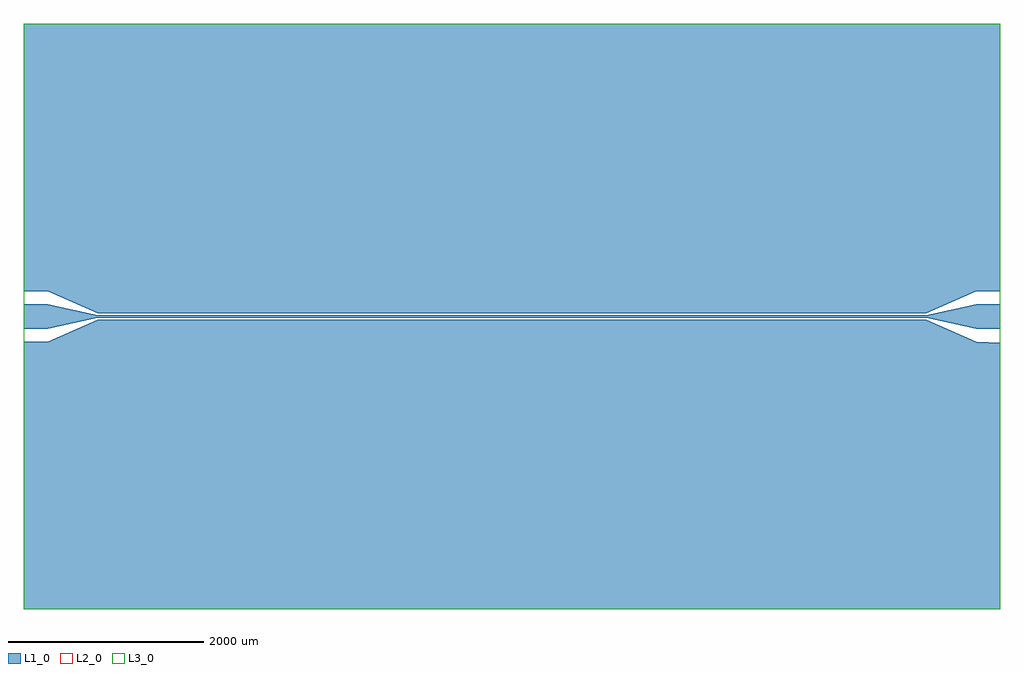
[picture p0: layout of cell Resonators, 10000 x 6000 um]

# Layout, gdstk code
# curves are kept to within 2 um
import gdstk
lib = gdstk.Library(unit=1e-6, precision=1e-06)
def R(c, l, rs):  # rectangles x0, y0, x1, y1
    for r in rs: c.add(gdstk.rectangle(r[:2], r[2:], *l))
def P(c, l, *ps):  # polygons
    for p in ps: c.add(gdstk.Polygon(p, *l))
L1_0 = (1, 0)
L2_0 = (2, 0)
L3_0 = (3, 0)

resonators = lib.new_cell('Resonators')
P(resonators, L1_0, [(2447,37),(2437,41),(2429,55),(2433,71),(2447,79),(2855,79),(2881,83),(2905,91),(2927,104),(2954,131),(2972,165),(2979,203),(2979,1914),(2972,1952),(2946,1995),(2927,2012),(2905,2025),(2869,2036),(2831,2036),(2806,2030),(2784,2019),(2754,1995),(2728,1952),(2721,1914),(2719,869),(2711,837),(2697,806),(2677,780),(2639,748),(2608,734),(2576,726),(2541,724),(2508,729),(2461,748),(2435,768),(2412,793),(2395,821),(2389,837),(2379,886),(2379,2061),(2383,2071),(2397,2079),(2413,2075),(2421,2061),(2422,876),(2433,840),(2446,818),(2463,799),(2506,773),(2531,767),(2556,766),(2594,773),(2637,799),(2654,818),(2667,840),(2678,876),(2679,1917),(2684,1950),(2695,1982),(2712,2010),(2735,2035),(2761,2055),(2792,2069),(2824,2077),(2859,2079),(2892,2074),(2939,2055),(2965,2035),(2988,2010),(3005,1982),(3011,1966),(3021,1917),(3021,199),(3016,166),(2997,119),(2977,93),(2939,61),(2892,42),(2859,37)],
  [(2448,48),(2440,56),(2441,63),(2448,68),(2857,68),(2884,72),(2922,88),(2954,114),(2977,148),(2989,187),(2990,1915),(2986,1942),(2977,1968),(2954,2002),(2922,2028),(2884,2044),(2857,2048),(2816,2044),(2778,2028),(2746,2002),(2723,1968),(2711,1929),(2710,887),(2705,856),(2695,827),(2669,787),(2645,766),(2618,750),(2574,737),(2558,735),(2526,737),(2482,750),(2455,766),(2431,787),(2413,813),(2399,841),(2390,887),(2391,2063),(2402,2068),(2410,2060),(2411,874),(2423,835),(2437,812),(2456,791),(2490,768),(2516,759),(2543,755),(2584,759),(2610,768),(2633,782),(2654,801),(2670,823),(2682,848),(2689,874),(2690,1916),(2695,1947),(2705,1976),(2721,2003),(2742,2027),(2768,2045),(2796,2059),(2826,2066),(2858,2068),(2889,2063),(2904,2059),(2932,2045),(2969,2016),(2987,1990),(3001,1962),(3010,1916),(3010,200),(3005,169),(2995,140),(2969,100),(2932,71),(2904,57),(2889,53),(2858,48)],
  [(-4246,32),(-4756,257),(-5000,257),(-5000,3000),(5000,3000),(5000,257),(4756,257),(4246,32)],
  [(-5000,-3000),(-5000,-257),(-4756,-257),(-4246,-32),(4246,-32),(4756,-257),(5000,-267),(5000,-3000)],
  [(-5000,-127),(-5000,127),(-4756,127),(-4246,15),(4246,15),(4756,127),(5000,127),(5000,-127),(4756,-127),(4246,-15),(-4246,-15),(-4756,-127)])
R(resonators, L2_0, [(-5000,-3000,5000,3000)])
R(resonators, L3_0, [(-5000,-3000,5000,3000)])
P(resonators, L3_0, [(1500,2370),(1500,2370),(1500,2370),(1500,2370)])
resonators.add(gdstk.FlexPath([(-2450,-58),(-3000,-58),(-3000,-2058),(-2700,-2058),(-2700,-558),(-2400,-558),(-2400,-2069)], 20, ends="extended", simple_path=True, layer=1, datatype=0))  # L1_0
resonators.add(gdstk.FlexPath([(-1550,58),(-1000,58),(-1000,2058),(-1300,2058),(-1300,620),(-1600,620),(-1600,2069)], 20, ends="extended", simple_path=True, layer=1, datatype=0))  # L1_0
resonators.add(gdstk.FlexPath([(-2450,-58),(-3000,-58),(-3000,-2058),(-2700,-2058),(-2700,-558),(-2400,-558),(-2400,-2058)], 42, ends="extended", simple_path=True, layer=1, datatype=0))  # L1_0
resonators.add(gdstk.FlexPath([(1550,-58),(1000,-58),(1000,-2058),(1300,-2058),(1300,-683),(1600,-683),(1600,-2069)], 20, ends="extended", simple_path=True, layer=1, datatype=0))  # L1_0
resonators.add(gdstk.FlexPath([(1550,-58),(1000,-58),(1000,-2058),(1300,-2058),(1300,-683),(1600,-683),(1600,-2069)], 42, ends="extended", simple_path=True, layer=1, datatype=0))  # L1_0
resonators.add(gdstk.FlexPath([(-1550,58),(-1000,58),(-1000,2058),(-1300,2058),(-1300,620),(-1600,620),(-1600,2069)], 42, ends="extended", simple_path=True, layer=1, datatype=0))  # L1_0

lib.write_gds('Resonators.gds')
